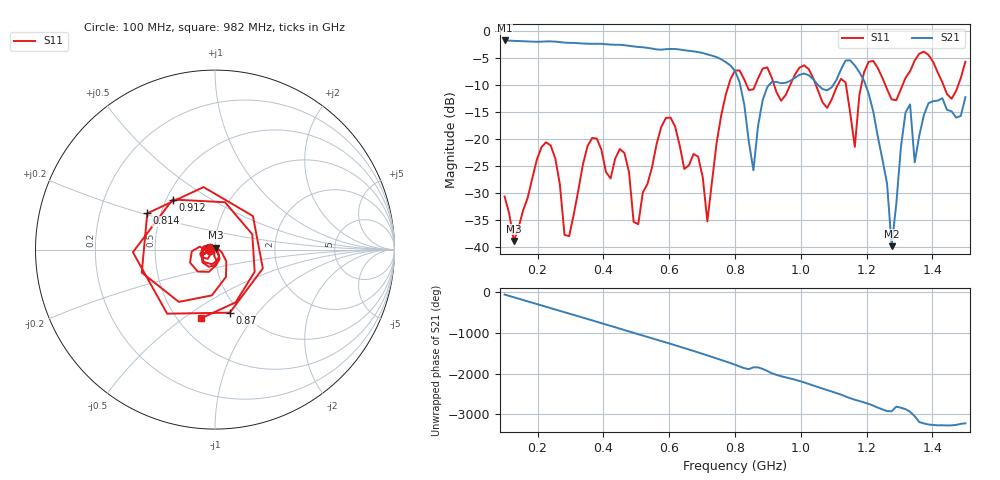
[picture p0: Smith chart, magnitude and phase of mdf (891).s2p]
! NanoVNA-App
! Date: 2025-09-25 15:45:21
! Start: 100MHz Stop: 1,5GHz Points: 101
! S-Parameter data: F S11 S21 S12 S22
# Hz S RI R 50
!  Frequency  S11_Real  S11_Imag  S21_Real  S21_Imag  S12_Real  S12_Imag  S22_Real  S22_Imag
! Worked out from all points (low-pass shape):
!   101 points, 100 MHz to 1.5 GHz, reference 50 ohm
!   highest |S21| = -1.80 dB at 100 MHz (marker M1); lowest = -39.9 dB at 1.276 GHz (marker M2)
!   |S21| within 3 dB of the highest: start of sweep to 739.4 MHz
!   lowest |S11| = -39.0 dB at 128 MHz (marker M3), VSWR 1.02, Z = 50.3 + j1.08 ohm
!   |S11| at or under -10 dB: start of sweep to 781.1 MHz; 918.7 MHz to 968.1 MHz (49.45 MHz wide, 5.24 % of centre); 1.045 GHz to 1.113 GHz (67.39 MHz wide, 6.25 % of centre) (the widest 3 of 7)
!   S12 and S22 are empty: the file has one direction only
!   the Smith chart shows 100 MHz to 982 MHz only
!   S11 on the Smith chart (normalised r, x): 100 MHz: 0.94, -0.01; 814 MHz: 0.42, +0.21; 870 MHz: 0.90, -0.73; 912 MHz: 0.54, +0.35; 982 MHz: 0.65, -0.59
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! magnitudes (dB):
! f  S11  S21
! 100 MHz  -30.7  -1.8
! 128 MHz  -39.0  -1.9
! 212 MHz  -21.6  -2.0
! 282 MHz  -37.8  -2.2
! 338 MHz  -24.7  -2.4
! 464 MHz  -22.6  -2.7
! 506 MHz  -35.9  -3.0
! 576 MHz  -17.8  -3.5
! 716 MHz  -35.3  -4.4
! 800 MHz  -7.4  -7.4
! 814 MHz  -7.4  -9.6
! 856 MHz  -10.9  -25.9
! 870 MHz  -8.9  -17.7
! 912 MHz  -8.7  -9.5
! 982 MHz  -8.1  -8.7
! 1.038 GHz  -8.8  -9.0
! 1.164 GHz  -21.5  -6.4
! 1.192 GHz  -7.7  -9.3
! 1.276 GHz  -12.7  -39.9
! 1.318 GHz  -8.7  -15.2
! 1.346 GHz  -5.5  -24.4
! 1.5 GHz  -5.8  -12.3
